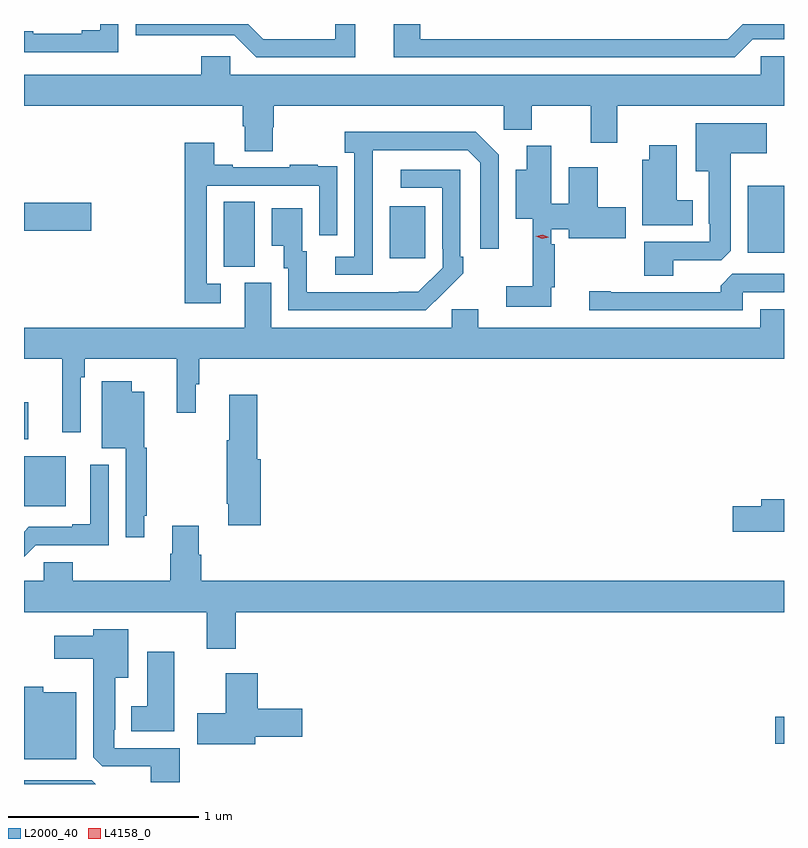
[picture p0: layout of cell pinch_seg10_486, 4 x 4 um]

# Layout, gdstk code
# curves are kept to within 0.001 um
import gdstk
lib = gdstk.Library(unit=1e-6, precision=1e-09)
def R(c, l, rs):  # rectangles x0, y0, x1, y1
    for r in rs: c.add(gdstk.rectangle(r[:2], r[2:], *l))
def P(c, l, *ps):  # polygons
    for p in ps: c.add(gdstk.Polygon(p, *l))
L2000_40 = (2000, 40)
L4158_0 = (4158, 0)

pinch_seg10_486 = lib.new_cell('pinch_seg10_486')
R(pinch_seg10_486, L2000_40, [(247.92,1283.638,247.967,1283.78), (243.967,1284.89,244.186,1285.153), (243.967,1285.242,243.989,1285.435), (245.018,1286.149,245.182,1286.492), (245.891,1286.193,246.079,1286.467), (247.775,1286.222,247.967,1286.575), (243.967,1286.339,244.321,1286.486)])
P(pinch_seg10_486, L2000_40, [(247.803,1287.348),(247.967,1287.348),(247.967,1287.427),(247.75,1287.427),(247.671,1287.348),(246.052,1287.348),(246.052,1287.427),(245.912,1287.427),(245.912,1287.252),(247.707,1287.252)],
  [(245.71,1287.427),(245.606,1287.427),(245.606,1287.348),(245.226,1287.348),(245.147,1287.427),(244.554,1287.427),(244.554,1287.368),(244.817,1287.368),(244.817,1287.369),(245.073,1287.369),(245.19,1287.252),(245.71,1287.252)],
  [(244.464,1287.427),(244.367,1287.427),(244.367,1287.395),(244.271,1287.395),(244.271,1287.375),(244.015,1287.375),(244.015,1287.39),(243.967,1287.39),(243.967,1287.279),(244.464,1287.279)],
  [(245.277,1286.883),(245.282,1286.883),(245.282,1286.996),(246.492,1286.996),(246.492,1286.87),(246.639,1286.87),(246.639,1286.996),(246.95,1286.996),(246.95,1286.802),(247.09,1286.802),(247.09,1286.996),(247.967,1286.996),(247.967,1287.258),(247.845,1287.258),(247.845,1287.16),(245.052,1287.16),(245.052,1287.258),(244.901,1287.258),(244.901,1287.16),(243.967,1287.16),(243.967,1286.996),(245.117,1286.996),(245.117,1286.89),(245.129,1286.89),(245.129,1286.758),(245.277,1286.758)],
  [(247.384,1286.184),(247.638,1286.184),(247.687,1286.233),(247.687,1286.747),(247.876,1286.747),(247.876,1286.905),(247.502,1286.905),(247.502,1286.651),(247.571,1286.651),(247.571,1286.377),(247.575,1286.377),(247.575,1286.28),(247.232,1286.28),(247.232,1286.101),(247.384,1286.101)],
  [(245.802,1286.563),(245.803,1286.763),(246.303,1286.763),(246.369,1286.697),(246.369,1286.244),(246.465,1286.244),(246.465,1286.739),(246.344,1286.86),(245.655,1286.86),(245.655,1286.75),(245.706,1286.75),(245.706,1286.202),(245.604,1286.202),(245.604,1286.106),(245.802,1286.106)],
  [(245.002,1286.061),(244.929,1286.061),(244.929,1286.577),(245.52,1286.577),(245.52,1286.316),(245.616,1286.316),(245.616,1286.57),(245.615,1286.57),(245.615,1286.679),(245.513,1286.679),(245.513,1286.686),(245.365,1286.686),(245.365,1286.673),(245.065,1286.673),(245.065,1286.686),(244.969,1286.686),(244.969,1286.803),(244.813,1286.803),(244.813,1285.956),(245.002,1285.956)],
  [(247.486,1286.5),(247.402,1286.5),(247.402,1286.788),(247.259,1286.788),(247.259,1286.713),(247.22,1286.713),(247.22,1286.369),(247.486,1286.369)],
  [(246.743,1286.041),(246.76,1286.041),(246.76,1286.267),(246.741,1286.267),(246.741,1286.348),(246.833,1286.348),(246.833,1286.3),(247.135,1286.3),(247.135,1286.463),(246.988,1286.463),(246.988,1286.674),(246.833,1286.674),(246.833,1286.48),(246.741,1286.48),(246.741,1286.785),(246.614,1286.785),(246.614,1286.659),(246.554,1286.659),(246.554,1286.402),(246.644,1286.402),(246.644,1286.047),(246.504,1286.047),(246.504,1285.938),(246.743,1285.938)],
  [(246.173,1286.011),(246.174,1286.01),(246.279,1286.115),(246.279,1286.203),(246.264,1286.203),(246.264,1286.661),(245.949,1286.661),(245.949,1286.565),(246.168,1286.565),(246.168,1286.245),(246.171,1286.245),(246.171,1286.145),(246.043,1286.017),(245.455,1286.016),(245.455,1286.232),(245.431,1286.232),(245.431,1286.458),(245.27,1286.458),(245.27,1286.261),(245.333,1286.261),(245.333,1286.142),(245.358,1286.142),(245.358,1285.92),(246.082,1285.92)],
  [(247.749,1286.016),(247.967,1286.016),(247.967,1286.112),(247.695,1286.112),(247.634,1286.05),(247.634,1286.016),(247.054,1286.016),(247.054,1286.021),(246.942,1286.021),(246.942,1285.92),(247.749,1285.92)],
  [(247.967,1285.927),(247.841,1285.927),(247.841,1285.828),(246.358,1285.828),(246.358,1285.926),(246.219,1285.926),(246.219,1285.828),(245.269,1285.828),(245.269,1286.064),(245.129,1286.064),(245.129,1285.828),(243.967,1285.828),(243.967,1285.664),(244.169,1285.664),(244.169,1285.278),(244.266,1285.278),(244.266,1285.568),(244.286,1285.568),(244.286,1285.664),(244.771,1285.664),(244.771,1285.38),(244.87,1285.38),(244.87,1285.53),(244.889,1285.53),(244.889,1285.664),(247.967,1285.664)],
  [(244.6,1284.838),(244.612,1284.838),(244.612,1285.197),(244.6,1285.197),(244.6,1285.492),(244.534,1285.492),(244.534,1285.546),(244.376,1285.546),(244.376,1285.193),(244.503,1285.193),(244.503,1284.726),(244.6,1284.726)],
  [(245.213,1285.137),(245.195,1285.137),(245.195,1285.477),(245.048,1285.477),(245.048,1285.237),(245.035,1285.237),(245.035,1284.901),(245.042,1284.901),(245.042,1284.789),(245.213,1284.789)],
  [(244.029,1284.684),(244.413,1284.684),(244.413,1285.108),(244.316,1285.108),(244.316,1284.793),(244.22,1284.793),(244.22,1284.78),(243.993,1284.78),(243.967,1284.754),(243.967,1284.622)],
  [(247.967,1284.926),(247.847,1284.926),(247.847,1284.89),(247.698,1284.89),(247.698,1284.755),(247.967,1284.755)],
  [(245.081,1284.332),(247.967,1284.332),(247.967,1284.496),(244.901,1284.496),(244.901,1284.633),(244.888,1284.633),(244.888,1284.787),(244.748,1284.787),(244.748,1284.638),(244.736,1284.638),(244.736,1284.496),(244.223,1284.496),(244.223,1284.594),(244.071,1284.594),(244.071,1284.496),(243.967,1284.496),(243.967,1284.332),(244.928,1284.332),(244.928,1284.138),(245.081,1284.138)],
  [(244.787,1283.616),(244.443,1283.616),(244.443,1283.713),(244.447,1283.713),(244.447,1283.987),(244.516,1283.987),(244.516,1284.241),(244.331,1284.241),(244.331,1284.208),(244.125,1284.208),(244.125,1284.086),(244.331,1284.086),(244.331,1283.569),(244.38,1283.52),(244.634,1283.52),(244.634,1283.437),(244.787,1283.437)],
  [(244.759,1284.124),(244.616,1284.124),(244.616,1283.836),(244.532,1283.836),(244.532,1283.705),(244.759,1283.705)],
  [(245.185,1283.675),(245.431,1283.675),(245.431,1283.822),(245.198,1283.822),(245.198,1284.01),(245.03,1284.01),(245.03,1283.799),(244.878,1283.799),(244.878,1283.636),(245.185,1283.636)],
  [(244.243,1283.911),(244.068,1283.911),(244.068,1283.938),(243.967,1283.938),(243.967,1283.558),(244.243,1283.558)],
  [(244.323,1283.448),(243.967,1283.448),(243.967,1283.427),(244.344,1283.427)])
P(pinch_seg10_486, L4158_0, [(246.694,1286.297),(246.66,1286.309),(246.66,1286.309),(246.66,1286.309),(246.696,1286.317),(246.73,1286.305),(246.73,1286.305),(246.73,1286.305)])

lib.write_gds('pinch_seg10_486.gds')
